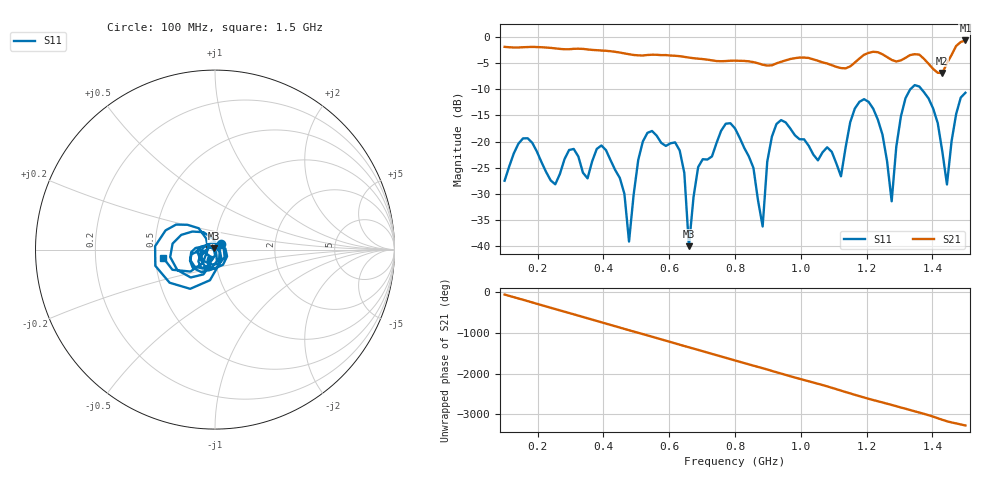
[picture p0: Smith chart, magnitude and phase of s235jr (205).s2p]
! NanoVNA-App
! Date: 2025-09-25 15:05:45
! Start: 100MHz Stop: 1,5GHz Points: 101
! S-Parameter data: F S11 S21 S12 S22
# Hz S RI R 50
!  Frequency  S11_Real  S11_Imag  S21_Real  S21_Imag  S12_Real  S12_Imag  S22_Real  S22_Imag
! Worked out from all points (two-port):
!   101 points, 100 MHz to 1.5 GHz, reference 50 ohm
!   highest |S21| = -0.75 dB at 1.5 GHz (marker M1); lowest = -6.9 dB at 1.43 GHz (marker M2)
!   |S21| within 3 dB of the highest: start of sweep to 632.6 MHz; 1.187 GHz to 1.258 GHz (70.97 MHz wide, 5.81 % of centre) (the widest 2 of 4)
!   lowest |S11| = -39.9 dB at 660 MHz (marker M3), VSWR 1.02, Z = 49.2 + j0.632 ohm
!   |S11| at or under -10 dB: start of sweep to 1.333 GHz; 1.366 GHz to end of sweep
!   S12 and S22 are empty: the file has one direction only
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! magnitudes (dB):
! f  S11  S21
! 100 MHz  -27.5  -2.0
! 156 MHz  -19.4  -2.0
! 338 MHz  -25.9  -2.4
! 408 MHz  -21.6  -2.7
! 478 MHz  -39.1  -3.4
! 520 MHz  -20.0  -3.6
! 576 MHz  -20.3  -3.5
! 632 MHz  -21.7  -3.7
! 660 MHz  -39.9  -4.0
! 688 MHz  -24.9  -4.2
! 800 MHz  -17.5  -4.6
! 884 MHz  -36.2  -5.4
! 898 MHz  -23.8  -5.5
! 926 MHz  -16.7  -5.1
! 1.038 GHz  -22.5  -4.4
! 1.122 GHz  -26.6  -6.0
! 1.206 GHz  -12.4  -3.1
! 1.276 GHz  -31.4  -4.4
! 1.332 GHz  -10.1  -3.5
! 1.43 GHz  -22.0  -6.9
! 1.444 GHz  -28.2  -5.1
! 1.5 GHz  -10.7  -0.7
